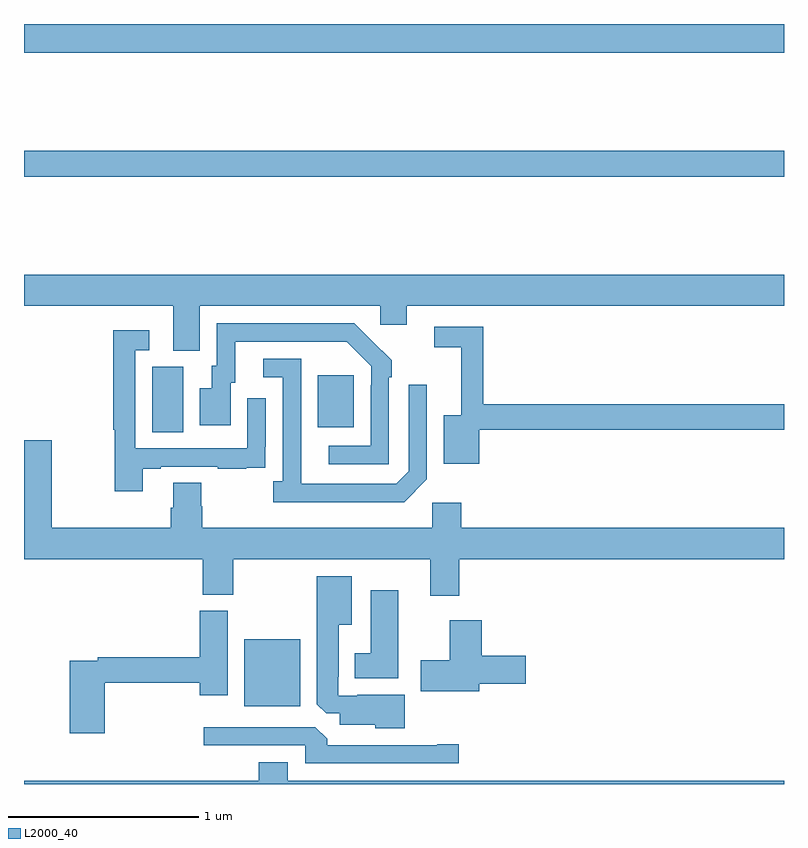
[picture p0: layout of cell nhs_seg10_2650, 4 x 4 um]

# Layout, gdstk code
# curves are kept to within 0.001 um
import gdstk
lib = gdstk.Library(unit=1e-6, precision=1e-09)
def R(c, l, rs):  # rectangles x0, y0, x1, y1
    for r in rs: c.add(gdstk.rectangle(r[:2], r[2:], *l))
def P(c, l, *ps):  # polygons
    for p in ps: c.add(gdstk.Polygon(p, *l))
L2000_40 = (2000, 40)

nhs_seg10_2650 = lib.new_cell('nhs_seg10_2650')
R(nhs_seg10_2650, L2000_40, [(256.16,1264.91,256.453,1265.263), (255.674,1266.352,255.838,1266.696), (256.547,1266.377,256.735,1266.652), (255,1267.696,259,1267.832), (255,1268.348,259,1268.5)])
P(nhs_seg10_2650, L2000_40, [(255,1267.016),(255.785,1267.016),(255.785,1266.781),(255.925,1266.781),(255.925,1267.016),(256.875,1267.016),(256.875,1266.918),(257.014,1266.918),(257.014,1267.016),(259,1267.016),(259,1267.18),(255,1267.18)],
  [(256.92,1266.641),(256.935,1266.641),(256.935,1266.729),(256.738,1266.924),(256.014,1266.924),(256.014,1266.702),(255.989,1266.702),(255.989,1266.583),(255.926,1266.583),(255.926,1266.387),(256.087,1266.387),(256.087,1266.612),(256.111,1266.612),(256.111,1266.828),(256.699,1266.828),(256.827,1266.699),(256.827,1266.599),(256.824,1266.599),(256.824,1266.279),(256.605,1266.279),(256.605,1266.183),(256.92,1266.183)],
  [(257.397,1266.364),(259,1266.364),(259,1266.5),(257.417,1266.5),(257.417,1266.906),(257.16,1266.906),(257.16,1266.798),(257.3,1266.798),(257.3,1266.442),(257.21,1266.442),(257.21,1266.185),(257.397,1266.185)],
  [(255.625,1266.159),(255.721,1266.159),(255.721,1266.171),(256.021,1266.171),(256.021,1266.159),(256.169,1266.159),(256.169,1266.165),(256.271,1266.165),(256.271,1266.274),(256.272,1266.274),(256.272,1266.529),(256.176,1266.529),(256.176,1266.267),(255.585,1266.267),(255.585,1266.783),(255.658,1266.783),(255.658,1266.889),(255.469,1266.889),(255.469,1266.364),(255.477,1266.364),(255.477,1266.042),(255.625,1266.042)],
  [(257.121,1266.105),(257.121,1266.601),(257.025,1266.601),(257.025,1266.147),(256.959,1266.081),(256.459,1266.081),(256.458,1266.738),(256.26,1266.738),(256.26,1266.642),(256.362,1266.642),(256.362,1266.094),(256.311,1266.094),(256.311,1265.984),(257,1265.984)],
  [(257.291,1265.684),(259,1265.684),(259,1265.848),(257.3,1265.848),(257.3,1265.98),(257.148,1265.98),(257.148,1265.848),(255.938,1265.848),(255.938,1265.961),(255.933,1265.961),(255.933,1266.086),(255.785,1266.086),(255.785,1265.954),(255.773,1265.954),(255.773,1265.848),(255.147,1265.848),(255.147,1266.31),(255,1266.31),(255,1265.684),(255.941,1265.684),(255.941,1265.497),(256.101,1265.497),(256.101,1265.684),(257.138,1265.684),(257.138,1265.49),(257.291,1265.49)],
  [(257.005,1264.969),(256.753,1264.969),(256.753,1264.965),(256.653,1264.965),(256.653,1265.065),(256.657,1265.065),(256.657,1265.339),(256.726,1265.339),(256.726,1265.593),(256.541,1265.593),(256.541,1264.921),(256.59,1264.872),(256.661,1264.872),(256.661,1264.811),(256.848,1264.811),(256.848,1264.793),(257.005,1264.793)],
  [(256.969,1265.521),(256.826,1265.521),(256.826,1265.188),(256.742,1265.188),(256.742,1265.057),(256.969,1265.057)],
  [(255.425,1265.032),(255.926,1265.032),(255.926,1264.968),(256.072,1264.968),(256.072,1265.412),(255.926,1265.412),(255.926,1265.168),(255.388,1265.168),(255.388,1265.148),(255.242,1265.148),(255.242,1264.767),(255.425,1264.767)],
  [(257.395,1265.027),(257.641,1265.027),(257.641,1265.174),(257.408,1265.174),(257.408,1265.362),(257.24,1265.362),(257.24,1265.151),(257.088,1265.151),(257.088,1264.988),(257.395,1264.988)],
  [(257.287,1264.709),(257.174,1264.709),(257.174,1264.704),(256.595,1264.704),(256.595,1264.738),(256.533,1264.8),(255.945,1264.8),(255.945,1264.704),(256.479,1264.704),(256.479,1264.608),(257.287,1264.608)],
  [(259,1264.516),(256.387,1264.516),(256.387,1264.615),(256.235,1264.615),(256.235,1264.516),(255,1264.516),(255,1264.5),(259,1264.5)])

lib.write_gds('nhs_seg10_2650.gds')
